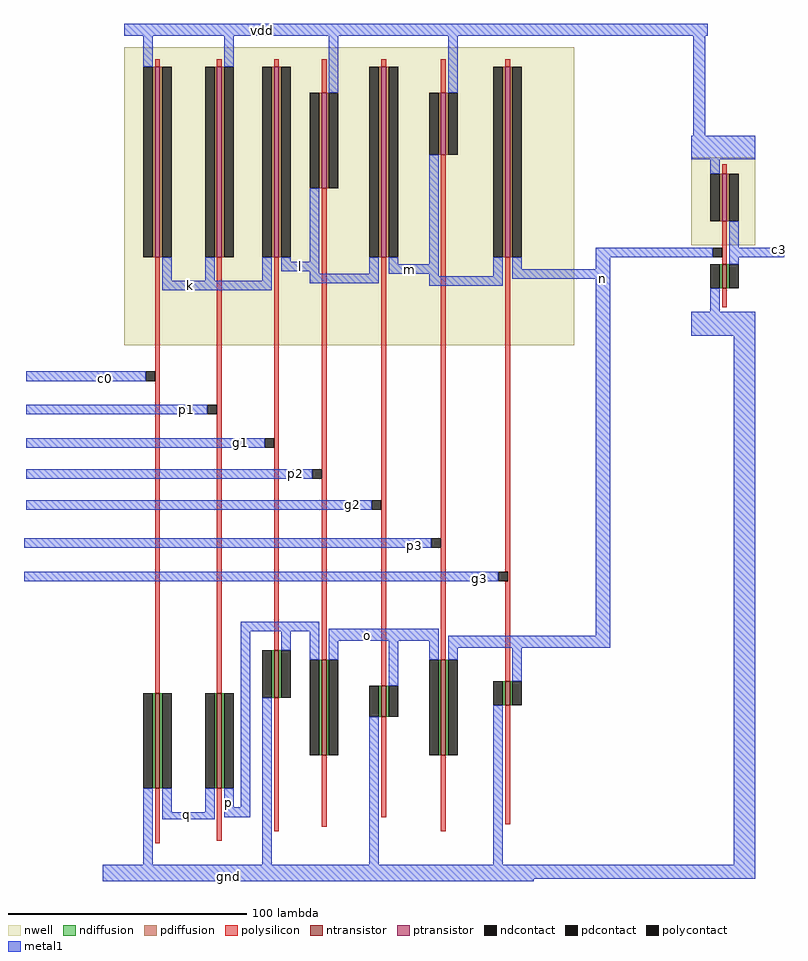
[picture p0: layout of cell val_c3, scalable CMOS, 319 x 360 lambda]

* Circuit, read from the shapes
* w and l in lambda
.subckt val_c3 c0 g1 g2 g3 gnd k l m n o p p1 p2 p3 q vdd
M1 q c0 gnd VSUBS nfet w=40 l=2
M2 p p1 q VSUBS nfet w=40 l=2
M3 p g1 gnd VSUBS nfet w=20 l=2
M4 o p2 p VSUBS nfet w=40 l=2
M5 o g2 gnd VSUBS nfet w=13 l=2
M6 n p3 o VSUBS nfet w=40 l=2
M7 n g3 gnd VSUBS nfet w=10 l=2
M8 inv_0/Y n gnd VSUBS nfet w=10 l=2
M9 k c0 vdd n1 pfet w=80 l=2
M10 vdd p1 k n1 pfet w=80 l=2
M11 l g1 k n1 pfet w=80 l=2
M12 vdd p2 l n1 pfet w=40 l=2
M13 m g2 l n1 pfet w=80 l=2
M14 vdd p3 m n1 pfet w=26 l=2
M15 n g3 m n1 pfet w=80 l=2
M16 inv_0/Y n vdd n2 pfet w=20 l=2
.ends

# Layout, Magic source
magic
tech scmos
<< nwell >>
rect -23 -72 166 53
<< ntransistor >>
rect -10 -258 -8 -218
rect 16 -258 18 -218
rect 40 -220 42 -200
rect 60 -244 62 -204
rect 85 -228 87 -215
rect 110 -244 112 -204
rect 137 -223 139 -213
<< ptransistor >>
rect -10 -35 -8 45
rect 16 -35 18 45
rect 40 -35 42 45
rect 60 -6 62 34
rect 85 -35 87 45
rect 110 8 112 34
rect 137 -35 139 45
<< ndiffusion >>
rect -11 -258 -10 -218
rect -8 -258 -7 -218
rect 15 -258 16 -218
rect 18 -258 19 -218
rect 39 -220 40 -200
rect 42 -220 43 -200
rect 59 -244 60 -204
rect 62 -244 63 -204
rect 84 -228 85 -215
rect 87 -228 88 -215
rect 109 -244 110 -204
rect 112 -244 113 -204
rect 136 -223 137 -213
rect 139 -223 140 -213
<< pdiffusion >>
rect -11 -35 -10 45
rect -8 -35 -7 45
rect 15 -35 16 45
rect 18 -35 19 45
rect 39 -35 40 45
rect 42 -35 43 45
rect 59 -6 60 34
rect 62 -6 63 34
rect 84 -35 85 45
rect 87 -35 88 45
rect 109 8 110 34
rect 112 8 113 34
rect 136 -35 137 45
rect 139 -35 140 45
<< ndcontact >>
rect -15 -258 -11 -218
rect -7 -258 -3 -218
rect 11 -258 15 -218
rect 19 -258 23 -218
rect 35 -220 39 -200
rect 43 -220 47 -200
rect 55 -244 59 -204
rect 63 -244 67 -204
rect 80 -228 84 -215
rect 88 -228 92 -215
rect 105 -244 109 -204
rect 113 -244 117 -204
rect 132 -223 136 -213
rect 140 -223 144 -213
<< pdcontact >>
rect -15 -35 -11 45
rect -7 -35 -3 45
rect 11 -35 15 45
rect 19 -35 23 45
rect 35 -35 39 45
rect 43 -35 47 45
rect 55 -6 59 34
rect 63 -6 67 34
rect 80 -35 84 45
rect 88 -35 92 45
rect 105 8 109 34
rect 113 8 117 34
rect 132 -35 136 45
rect 140 -35 144 45
<< polysilicon >>
rect -10 45 -8 48
rect 16 45 18 48
rect 40 45 42 48
rect 60 34 62 48
rect 85 45 87 48
rect -10 -218 -8 -35
rect 16 -218 18 -35
rect 40 -200 42 -35
rect 60 -204 62 -6
rect 110 34 112 48
rect 137 45 139 48
rect -10 -281 -8 -258
rect 16 -280 18 -258
rect 40 -276 42 -220
rect 85 -215 87 -35
rect 110 -204 112 8
rect 137 -167 139 -35
rect 138 -171 139 -167
rect 60 -274 62 -244
rect 85 -270 87 -228
rect 137 -213 139 -171
rect 110 -276 112 -244
rect 137 -273 139 -223
<< polycontact >>
rect -14 -87 -10 -83
rect 12 -101 16 -97
rect 36 -115 40 -111
rect 56 -128 60 -124
rect 81 -141 85 -137
rect 106 -157 110 -153
rect 134 -171 138 -167
<< metal1 >>
rect -23 58 222 63
rect -15 45 -11 58
rect 19 45 23 58
rect -7 -45 -3 -35
rect 11 -45 15 -35
rect 35 -45 39 -35
rect 63 34 67 58
rect 43 -37 47 -35
rect 55 -37 59 -6
rect 43 -41 59 -37
rect -7 -49 39 -45
rect 55 -42 59 -41
rect 80 -42 84 -35
rect 113 34 117 58
rect 88 -38 92 -35
rect 105 -38 109 8
rect 88 -42 109 -38
rect 55 -46 84 -42
rect 105 -43 109 -42
rect 132 -43 136 -35
rect 105 -47 136 -43
rect 216 16 221 58
rect 140 -40 144 -35
rect 175 -35 208 -31
rect 175 -40 181 -35
rect 140 -44 181 -40
rect -64 -87 -14 -83
rect -64 -101 12 -97
rect -64 -115 36 -111
rect -64 -128 56 -124
rect -64 -141 81 -137
rect -65 -157 106 -153
rect -65 -171 134 -167
rect 26 -192 59 -188
rect -15 -290 -11 -258
rect -7 -268 -3 -258
rect 11 -268 15 -258
rect -7 -271 15 -268
rect 19 -266 23 -258
rect 26 -266 30 -192
rect 43 -200 47 -192
rect 19 -270 30 -266
rect 55 -204 59 -192
rect 35 -290 39 -220
rect 63 -196 109 -191
rect 175 -194 181 -44
rect 63 -204 67 -196
rect 88 -215 92 -196
rect 105 -204 109 -196
rect 80 -290 84 -228
rect 113 -199 181 -194
rect 113 -204 117 -199
rect 140 -213 144 -199
rect 132 -290 136 -223
rect 233 -290 242 -65
rect -32 -296 242 -290
rect -32 -297 149 -296
use inv  inv_0
transform 1 0 215 0 1 -13
box -7 -55 39 29
<< labels >>
rlabel metal1 35 60 35 60 5 vdd
rlabel metal1 5 -47 5 -47 1 k
rlabel metal1 51 -39 51 -39 1 l
rlabel metal1 97 -40 97 -40 1 m
rlabel metal1 -31 -86 -31 -86 1 c0
rlabel metal1 178 -44 178 -44 7 n
rlabel space 252 -32 252 -32 7 c3
rlabel metal1 3 -99 3 -99 1 p1
rlabel metal1 26 -113 26 -113 1 g1
rlabel metal1 49 -126 49 -126 1 p2
rlabel metal1 73 -139 73 -139 1 g2
rlabel metal1 21 -295 21 -295 1 gnd
rlabel metal1 3 -269 3 -269 1 q
rlabel metal1 21 -264 21 -264 1 p
rlabel metal1 79 -194 79 -194 1 o
rlabel metal1 99 -156 99 -156 1 p3
rlabel metal1 126 -170 126 -170 1 g3
<< end >>

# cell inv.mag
magic
tech scmos
<< nwell >>
rect 0 -17 27 20
<< ntransistor >>
rect 13 -35 15 -25
<< ptransistor >>
rect 13 -7 15 13
<< ndiffusion >>
rect 12 -35 13 -25
rect 15 -35 16 -25
<< pdiffusion >>
rect 12 -7 13 13
rect 15 -7 16 13
<< ndcontact >>
rect 8 -35 12 -25
rect 16 -35 20 -25
<< pdcontact >>
rect 8 -7 12 13
rect 16 -7 20 13
<< polysilicon >>
rect 13 13 15 17
rect 13 -25 15 -7
rect 13 -43 15 -35
<< polycontact >>
rect 9 -22 13 -18
<< metal1 >>
rect 0 19 27 29
rect 8 13 12 19
rect 16 -18 20 -7
rect -7 -22 9 -18
rect 16 -22 39 -18
rect 16 -25 20 -22
rect 8 -45 12 -35
rect 0 -55 27 -45
<< labels >>
rlabel metal1 13 25 13 25 5 vdd
rlabel metal1 20 -48 20 -48 1 gnd
rlabel metal1 2 -20 2 -20 1 b
rlabel metal1 29 -20 29 -20 1 Y
<< end >>
